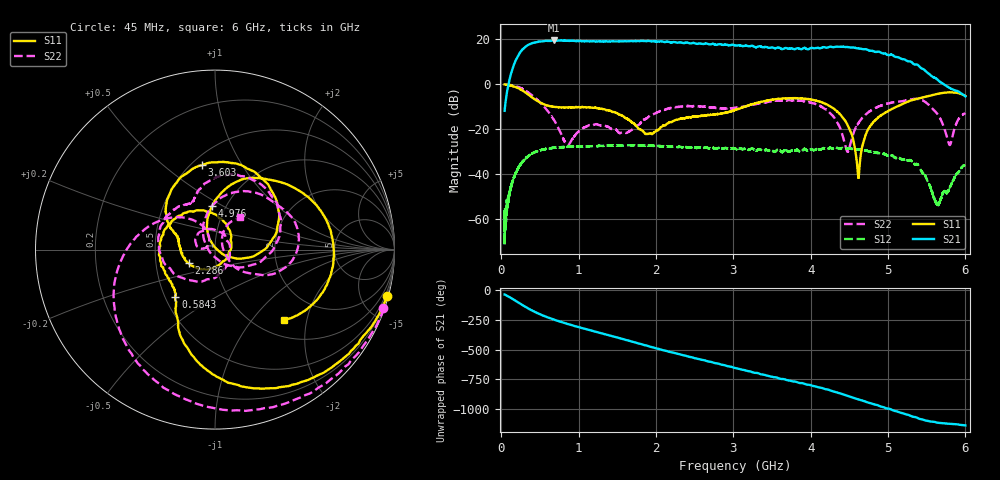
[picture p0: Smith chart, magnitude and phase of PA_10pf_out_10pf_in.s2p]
!Agilent Technologies,E8364A,US41440144,A.06.04.32
!Agilent E8364A: A.06.04.32
!Date: Thursday, November 08, 2018 15:20:55
!Correction: S11(Full 2 Port(1,2)) S21(Full 2 Port(1,2)) S12(Full 2 Port(1,2)) S22(Full 2 Port(1,2))
!S2P File: Measurements: S11, S21, S12, S22:
# Hz S  dB  R 50
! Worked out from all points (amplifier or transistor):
!   16001 points, 45 MHz to 6 GHz, reference 50 ohm
!   highest |S21| = 19.5 dB at 677 MHz (marker M1)
!   |S21| within 3 dB of that: 308.8 MHz to 3.286 GHz (2.977 GHz wide, 166 % of centre)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
!   unconditionally stable (mu >= 1): start of sweep to 48.49 MHz; 48.97 MHz to 49.89 MHz; 50.51 MHz to end of sweep
!   at 1.037 GHz: K = 1.36, MAG = 19.9 dB, |S12| = -27.6 dB
!   at 3.022 GHz: K = 1.74, MAG = 18.0 dB, |S12| = -28.6 dB
!   at 6 GHz: K = 38.90, MAG = -3.6 dB, |S12| = -36.0 dB
!   S11 on the Smith chart (normalised r, x): 45 MHz: 0.20, -7.52; 584.3 MHz: 0.57, -0.34; 2.286 GHz: 0.74, -0.12; 3.603 GHz: 0.56, +0.68; 4.976 GHz: 0.86, +0.44; 6 GHz: 1.31, -1.47
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4.5e7  -0.06 -15.1  -11.79 -35.1  -55.96 161.3  -0.06 -19.2
1.763822e8  -1.12 -57.3  9.65 -83.5  -40.60 110.4  -0.73 -76.5
2.973431e8  -3.26 -91.9  16.14 -132.2  -33.60 64.5  -2.47 -126.9
4.279809e8  -6.56 -116.1  18.53 -179.3  -30.24 23.5  -5.69 -174.7
5.842997e8  -9.28 -130.0  19.32 137.0  -28.68 -16.8  -11.09 139.7
6.769744e8  -10.00 -136.4  19.48 115.3  -28.25 -37.0  -15.54 120.5
1.037624e9  -10.14 -172.9  19.18 43.4  -27.64 -101.7  -20.04 170.5
1.445914e9  -12.30 118.8  19.14 -28.3  -27.23 -165.2  -19.97 77.9
1.751852e9  -18.64 39.0  19.25 -83.3  -27.11 148.2  -18.29 -68.8
2.030248e9  -20.32 -91.9  19.01 -133.0  -27.39 106.8  -12.28 -139.7
2.285941e9  -15.73 -152.4  18.51 -175.7  -27.88 71.0  -10.09 175.2
2.661478e9  -13.72 168.6  18.04 123.2  -28.20 18.1  -10.03 130.9
3.0225e9  -11.37 154.7  17.31 65.1  -28.65 -32.4  -10.56 113.4
3.342953e9  -7.96 129.1  16.94 15.8  -28.80 -75.5  -8.42 96.4
3.603112e9  -6.46 99.0  16.12 -25.9  -29.35 -112.8  -7.25 71.3
4.015124e9  -6.89 45.3  16.20 -83.0  -28.84 -164.2  -8.31 18.8
4.491152e9  -19.06 -24.2  16.50 -173.2  -28.53 116.3  -29.35 -168.6
4.732329e9  -20.68 115.0  15.40 135.2  -29.61 70.1  -12.81 97.3
4.976484e9  -12.35 93.9  13.43 85.8  -31.31 24.3  -8.73 62.7
5.007748e9  -11.77 91.6  12.99 81.6  -31.83 21.0  -8.49 58.5
5.472238e9  -5.63 45.9  6.34 -15.3  -40.32 -90.3  -7.66 -12.3
6e9  -5.19 -45.7  -5.38 -59.6  -36.00 -110.2  -12.82 52.3
